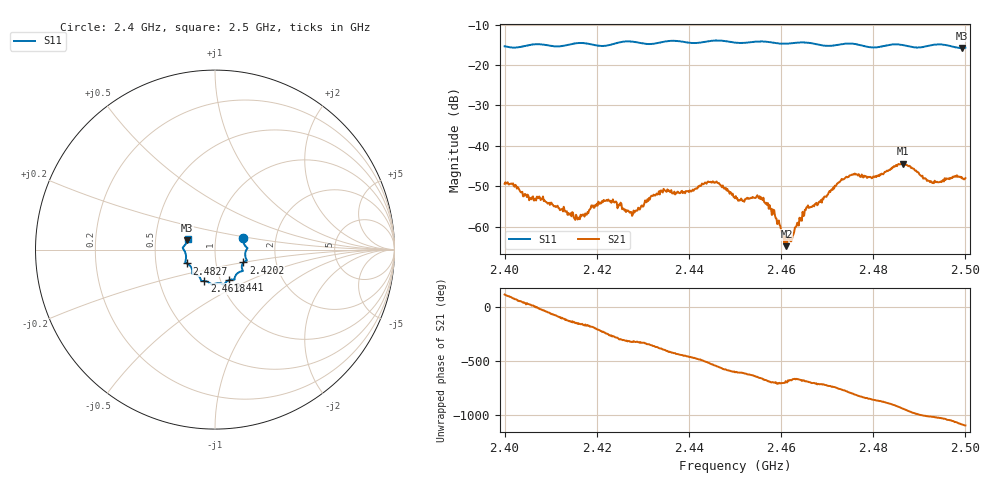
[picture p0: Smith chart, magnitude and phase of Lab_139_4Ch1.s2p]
# Hz S RI R
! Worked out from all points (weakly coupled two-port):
!   601 points, 2.4 GHz to 2.5 GHz, reference 50 ohm
!   highest |S21| = -44.45 dB at 2.4865 GHz (marker M1); lowest = -64.8 dB at 2.4612 GHz (marker M2)
!   lowest |S11| = -15.8 dB at 2.4993 GHz (marker M3), VSWR 1.39, Z = 36.5 + j3.85 ohm
!   |S11| at or under -10 dB: start of sweep to end of sweep
!   S12 and S22 are empty: the file has one direction only
!   S11 on the Smith chart (normalised r, x): 2.4 GHz: 1.36, +0.18; 2.4202 GHz: 1.36, -0.20; 2.441 GHz: 1.10, -0.39; 2.4618 GHz: 0.84, -0.30; 2.4827 GHz: 0.72, -0.12; 2.5 GHz: 0.73, +0.09
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2.4e9  0.1585 0.063  -0.00137 0.0031  0 0  0 0
2.416667e9  0.1772 -0.0609  -0.00127 -0.000439  0 0  0 0
2.420167e9  0.1586 -0.0714  -0.00157 0.000914  0 0  0 0
2.423833e9  0.1507 -0.1053  0.000216 0.00198  0 0  0 0
2.427667e9  0.1541 -0.1195  0.00107 0.000833  0 0  0 0
2.433333e9  0.1114 -0.151  0.00244 -0.000765  0 0  0 0
2.441e9  0.0787 -0.1698  -0.00109 -0.00256  0 0  0 0
2.445667e9  0.0506 -0.1946  -0.0035 0.000165  0 0  0 0
2.45e9  0.0286 -0.1873  -0.000958 0.00203  0 0  0 0
2.455833e9  -0.0156 -0.1952  0.00119 0.00187  0 0  0 0
2.458e9  -0.0254 -0.1885  0.00129 0.00052  0 0  0 0
2.461167e9  -0.0525 -0.1762  0.000529 0.000221  0 0  0 0
2.461833e9  -0.0591 -0.1753  0.000548 0.000488  0 0  0 0
2.465167e9  -0.0766 -0.174  0.00136 0.000874  0 0  0 0
2.466667e9  -0.0787 -0.1683  0.00169 0.000456  0 0  0 0
2.4745e9  -0.1267 -0.1341  0.00161 -0.00381  0 0  0 0
2.482667e9  -0.1561 -0.0773  -0.00459 -0.00129  0 0  0 0
2.483333e9  -0.1604 -0.0752  -0.00489 -0.000756  0 0  0 0
2.4865e9  -0.1646 -0.0636  -0.0044 0.00407  0 0  0 0
2.492667e9  -0.1761 0.00308  0.00156 0.0032  0 0  0 0
2.499333e9  -0.154 0.0513  0.00389 -0.000514  0 0  0 0
2.5e9  -0.1523 0.0608  0.00382 -0.00113  0 0  0 0
